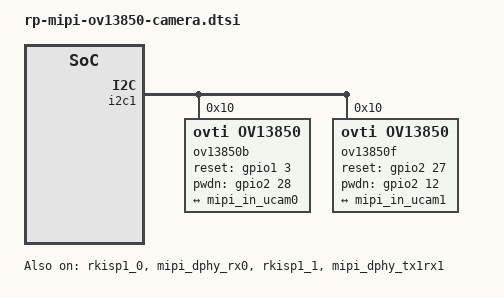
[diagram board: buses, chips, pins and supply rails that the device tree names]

&rkisp1_0 {
    status = "okay";

    port {
        #address-cells = <1>;
        #size-cells = <0>;

        isp0_mipi_in: endpoint@0 {
            reg = <0>;
            remote-endpoint = <&dphy_rx0_out>;
        };
    };
};

&mipi_dphy_rx0 {
    status = "okay";

    ports {
        #address-cells = <1>;
        #size-cells = <0>;

        port@0 {
            reg = <0>;
            #address-cells = <1>;
            #size-cells = <0>;

            mipi_in_ucam0: endpoint@1 {
                reg = <1>;
                remote-endpoint = <&ucam_out0>;
                data-lanes = <1 2>;
            };
        };

        port@1 {
            reg = <1>;
            #address-cells = <1>;
            #size-cells = <0>;

            dphy_rx0_out: endpoint@0 {
                reg = <0>;
                remote-endpoint = <&isp0_mipi_in>;
            };
        };
    };
};

&isp0_mmu {
    status = "okay";
};

&rkisp1_1 {
    status = "okay";

    port {
        #address-cells = <1>;
        #size-cells = <0>;

        isp1_mipi_in: endpoint@0 {
            reg = <0>;
            remote-endpoint = <&dphy_tx1rx1_out>;
        };
    };
};

&mipi_dphy_tx1rx1 {
    status = "okay";

    ports {
        #address-cells = <1>;
        #size-cells = <0>;

        port@0 {
            reg = <0>;
            #address-cells = <1>;
            #size-cells = <0>;

            mipi_in_ucam1: endpoint@1 {
                reg = <1>;
                // Unlinked camera 
                remote-endpoint = <&ucam_out1>;
                data-lanes = <1 2>;
            };
        };

        port@1 {
            reg = <1>;
            #address-cells = <1>;
            #size-cells = <0>;

            dphy_tx1rx1_out: endpoint@0 {
                reg = <0>;
                remote-endpoint = <&isp1_mipi_in>;
            };
        };
    };
};

&isp1_mmu {
    status = "okay";
};



&i2c1 {
    status = "okay";
    ov13850b: ov13850b@10 {
                compatible = "ovti,ov13850";
                status = "okay";
                reg = <0x10>;
                clocks = <&cru SCLK_CIF_OUT>;
                clock-names = "xvclk";

                /* conflict with csi-ctl-gpios */
                reset-gpios = <&gpio1 3 GPIO_ACTIVE_HIGH>;
                pwdn-gpios = <&gpio2 28 GPIO_ACTIVE_HIGH>;
                pinctrl-names = "rockchip,camera_default";
                pinctrl-0 = <&pinctrl_ov13850b>;
                rockchip,camera-module-index = <0>;
                rockchip,camera-module-facing = "back";
                rockchip,camera-module-name = "CMK-CT0116";
                rockchip,camera-module-lens-name = "Largan-50013A1";

                port {
                        ucam_out0: endpoint {
                                remote-endpoint = <&mipi_in_ucam0>;
                                data-lanes = <1 2>;
                        };
                };
        };

    ov13850f: ov13850f@10 {
                compatible = "ovti,ov13850";
                status = "okay";
                reg = <0x10>;
                clocks = <&cru SCLK_CIF_OUT>;
                clock-names = "xvclk";

                /* conflict with csi-ctl-gpios */
                reset-gpios = <&gpio2 27 GPIO_ACTIVE_HIGH>;
                pwdn-gpios = <&gpio2 12 GPIO_ACTIVE_HIGH>;
                //pinctrl-names = "rockchip,camera_default";
                //pinctrl-0 = <&pinctrl_ov13850f>;
                rockchip,camera-module-index = <1>;
                rockchip,camera-module-facing = "front";
                rockchip,camera-module-name = "CMK-CT0116";
                rockchip,camera-module-lens-name = "Largan-50013A1";

                port {
                        ucam_out1: endpoint {
                                remote-endpoint = <&mipi_in_ucam1>;
                                data-lanes = <1 2>;
                        };
                };
        };
};

&pinctrl {
    camera {
        pinctrl_ov13850b: pinctrl-ov13850b {
            rockchip,pins =
                /* cif_clkout */
                                <2 RK_PB3 3 &pcfg_pull_none>,
                <1 RK_PA3 0 &pcfg_pull_none>,
                <2 RK_PD4 0 &pcfg_pull_none>;
        };    
        pinctrl_ov13850f: pinctrl-ov13850f {
                        rockchip,pins =
                                /* cif_clkout */
                                <2 RK_PB3 3 &pcfg_pull_none>,
                <2 RK_PD3 0 &pcfg_pull_none>,
                                <2 RK_PB4 0 &pcfg_pull_none>;
               };
    };
};
